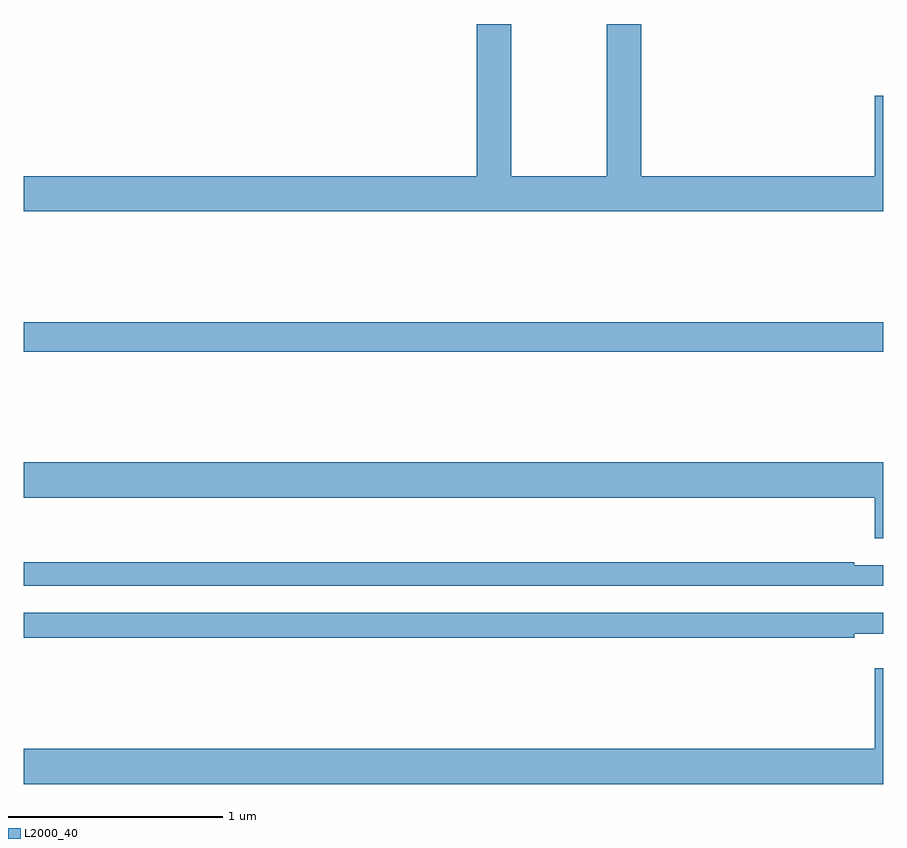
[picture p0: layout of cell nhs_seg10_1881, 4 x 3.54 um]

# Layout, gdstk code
import gdstk
lib = gdstk.Library(unit=1e-6, precision=1e-09)
def R(c, l, rs):  # rectangles x0, y0, x1, y1
    for r in rs: c.add(gdstk.rectangle(r[:2], r[2:], *l))
def P(c, l, *ps):  # polygons
    for p in ps: c.add(gdstk.Polygon(p, *l))
L2000_40 = (2000, 40)

nhs_seg10_1881 = lib.new_cell('nhs_seg10_1881')
R(nhs_seg10_1881, L2000_40, [(209,1320.976,213,1321.112)])
P(nhs_seg10_1881, L2000_40, [(213,1322.167),(212.96,1322.167),(212.96,1321.792),(211.874,1321.792),(211.874,1322.5),(211.714,1322.5),(211.714,1321.792),(211.269,1321.792),(211.269,1322.5),(211.109,1322.5),(211.109,1321.792),(209,1321.792),(209,1321.628),(213,1321.628)],
  [(213,1320.46),(209,1320.46),(209,1320.296),(212.96,1320.296),(212.96,1320.108),(213,1320.108)],
  [(213,1319.982),(212.864,1319.982),(212.864,1319.995),(209,1319.995),(209,1319.886),(213,1319.886)],
  [(212.864,1319.663),(213,1319.663),(213,1319.76),(209,1319.76),(209,1319.644),(212.864,1319.644)],
  [(213,1319.503),(212.96,1319.503),(212.96,1319.128),(209,1319.128),(209,1318.964),(213,1318.964)])

lib.write_gds('nhs_seg10_1881.gds')
